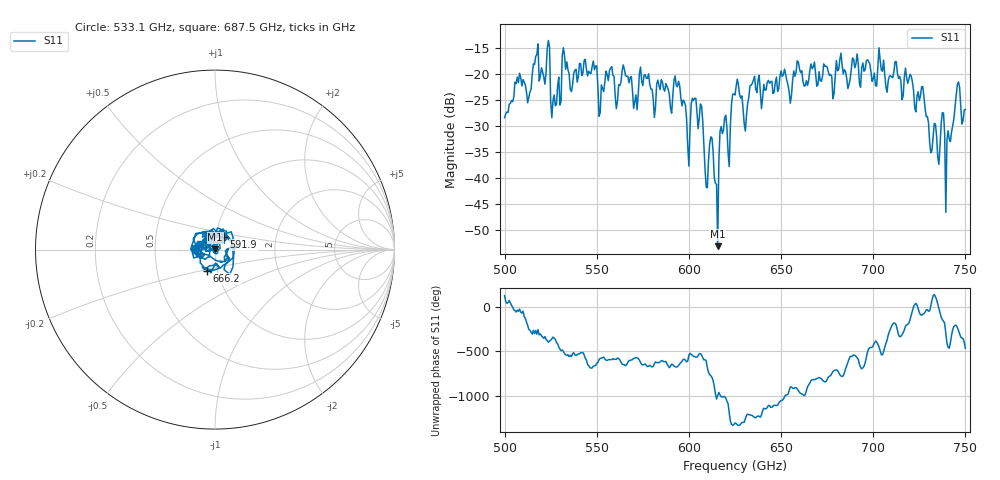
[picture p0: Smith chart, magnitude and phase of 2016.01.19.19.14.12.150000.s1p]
!Created with skrf (http://scikit-rf.org).
# GHz S RI R 50.0
!freq ReS11 ImS11
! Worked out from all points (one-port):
!   401 points, 500 GHz to 750 GHz, reference 50 ohm
!   lowest |S11| = -53.0 dB at 615.6 GHz (marker M1), VSWR 1.00, Z = 50 + j0.221 ohm
!   |S11| at or under -10 dB: start of sweep to end of sweep
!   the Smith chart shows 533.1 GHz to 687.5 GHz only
!   S11 on the Smith chart (normalised r, x): 533.1 GHz: 0.80, +0.00; 591.9 GHz: 1.10, +0.15; 666.2 GHz: 0.89, -0.21; 687.5 GHz: 0.84, +0.05
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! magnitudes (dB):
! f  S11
! 500 GHz  -28.3
! 506.9 GHz  -20.5
! 513.1 GHz  -24.5
! 516.9 GHz  -16.5
! 523.1 GHz  -15.0
! 526.2 GHz  -25.0
! 531.2 GHz  -16.5
! 533.1 GHz  -19.0
! 562.5 GHz  -22.1
! 591.9 GHz  -21.2
! 593.8 GHz  -22.4
! 599.4 GHz  -33.9
! 603.1 GHz  -24.6
! 609.4 GHz  -41.7
! 611.9 GHz  -32.0
! 615.6 GHz  -53.0
! 618.1 GHz  -31.4
! 621.9 GHz  -37.7
! 625 GHz  -24.0
! 630.6 GHz  -30.9
! 634.4 GHz  -21.7
! 656.2 GHz  -21.2
! 666.2 GHz  -18.0
! 687.5 GHz  -20.9
! 718.8 GHz  -21.7
! 740.6 GHz  -30.8
! 745.6 GHz  -22.0
! 750 GHz  -26.7
